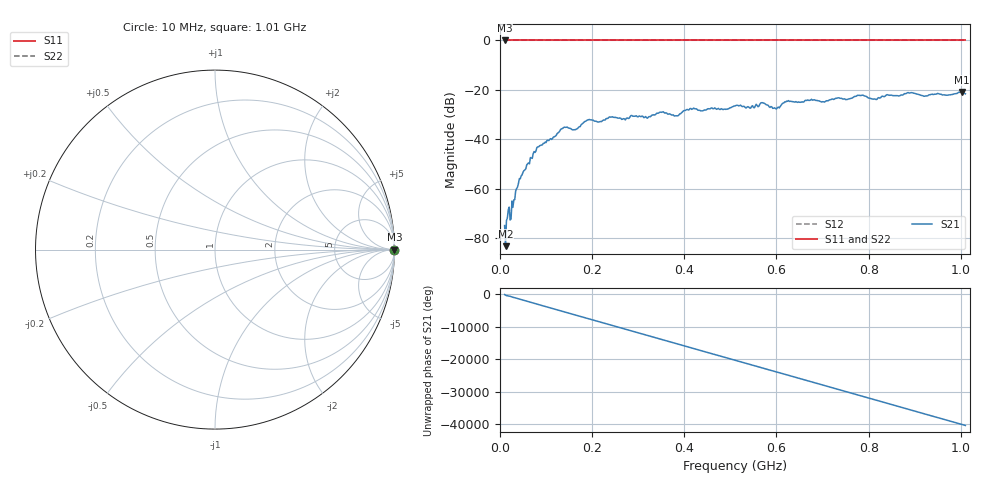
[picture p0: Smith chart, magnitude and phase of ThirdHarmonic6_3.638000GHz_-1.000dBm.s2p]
! 8/17/2025 12:13:09 PM
! C:\ANRITSUVNA\TEMP\TEMP.S2P
! CHANNEL.1
! TR.MEASUREMENT
! RAW.DATA
! RF.CORRECTION.OFF
! AVERAGING.OFF
! IF.BANDWIDTH: 5KHZ
! SWEEPTYPE:  FREQ.SWEEP(Linear)
! Reference Plane Port Info
! PORT:  PORT1  PORT2
! DISTANCE:  0  m  0  m
! TIME:  0  s  0  s
! PHASE.OFFSET:  0  deg.  0  deg.
! LOSS:  0  dB  0  dB
! REF.LOSS:  0  dB  0  dB
! REF.FREQ:  0  Hz  0  Hz
! Power Info
! POWER:  -20  dBm  -20  dBm
! EFF.POWER:  -20  dBm  -20  dBm
! SOURCE.ATTEN:  0  dB  0  dB
! TEST.ATTEN:  0  dB  0  dB
# GHZ S RI R 50.0
! FREQ.GHZ  S11RE  S11IM  S21RE  S21IM  S12RE  S12IM  S22RE  S22IM
!; PortSelection: Port_12
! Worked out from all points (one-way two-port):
!   501 points, 10 MHz to 1.01 GHz, reference 50 ohm
!   highest |S21| = -20.81 dB at 1.002 GHz (marker M1); lowest = -83.3 dB at 12 MHz (marker M2)
!   lowest |S11| = 0.0 dB at 10 MHz (marker M3)
!   |S11| at or under -10 dB: nowhere
!   |S22| runs from 0.0 to 0.0 dB; largest |S21 - S12| = 1.1
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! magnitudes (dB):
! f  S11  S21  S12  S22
! 10 MHz  0.0  -74.9  0.0  0.0
! 12 MHz  0.0  -83.3  0.0  0.0
! 18 MHz  0.0  -68.4  0.0  0.0
! 26 MHz  0.0  -65.0  0.0  0.0
! 44 MHz  0.0  -56.0  0.0  0.0
! 78 MHz  0.0  -44.8  0.0  0.0
! 136 MHz  0.0  -35.6  0.0  0.0
! 162 MHz  0.0  -36.1  0.0  0.0
! 178 MHz  0.0  -33.8  0.0  0.0
! 344 MHz  0.0  -29.4  0.0  0.0
! 382 MHz  0.0  -30.5  0.0  0.0
! 416 MHz  0.0  -27.9  0.0  0.0
! 510 MHz  0.0  -26.5  0.0  0.0
! 570 MHz  0.0  -25.2  0.0  0.0
! 596 MHz  0.0  -27.2  0.0  0.0
! 622 MHz  0.0  -24.5  0.0  0.0
! 678 MHz  0.0  -24.2  0.0  0.0
! 784 MHz  0.0  -22.3  0.0  0.0
! 814 MHz  0.0  -23.7  0.0  0.0
! 844 MHz  0.0  -22.2  0.0  0.0
! 1.002 GHz  0.0  -20.8  0.0  0.0
! 1.01 GHz  0.0  -21.6  0.0  0.0
